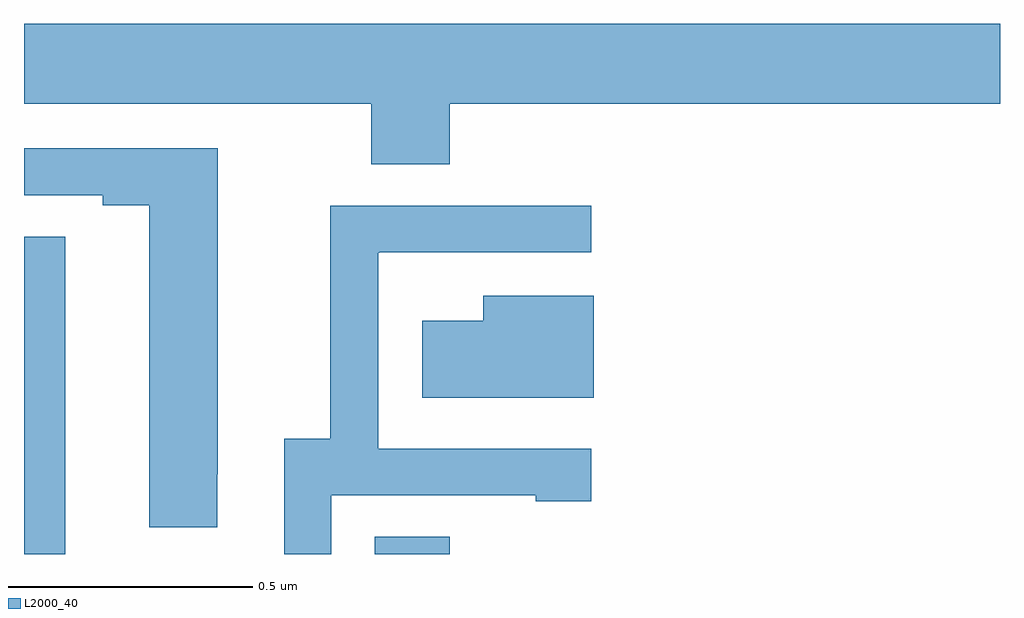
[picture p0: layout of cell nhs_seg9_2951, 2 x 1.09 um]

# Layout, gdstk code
import gdstk
lib = gdstk.Library(unit=1e-6, precision=1e-09)
def R(c, l, rs):  # rectangles x0, y0, x1, y1
    for r in rs: c.add(gdstk.rectangle(r[:2], r[2:], *l))
def P(c, l, *ps):  # polygons
    for p in ps: c.add(gdstk.Polygon(p, *l))
L2000_40 = (2000, 40)

nhs_seg9_2951 = lib.new_cell('nhs_seg9_2951')
R(nhs_seg9_2951, L2000_40, [(147,1191.5,147.085,1192.151), (147.719,1191.5,147.872,1191.536)])
P(nhs_seg9_2951, L2000_40, [(147.872,1192.424),(149,1192.424),(149,1192.588),(147,1192.588),(147,1192.424),(147.712,1192.424),(147.712,1192.3),(147.872,1192.3)],
  [(147.396,1191.664),(147.397,1191.664),(147.397,1192.332),(147,1192.332),(147,1192.236),(147.161,1192.236),(147.161,1192.216),(147.257,1192.216),(147.257,1191.556),(147.396,1191.556)],
  [(147.63,1191.621),(148.049,1191.621),(148.049,1191.609),(148.162,1191.609),(148.162,1191.717),(147.726,1191.717),(147.726,1192.118),(147.728,1192.118),(147.728,1192.119),(148.162,1192.119),(148.162,1192.215),(147.628,1192.215),(147.628,1191.737),(147.533,1191.737),(147.533,1191.5),(147.63,1191.5)],
  [(148.168,1192.03),(147.941,1192.03),(147.941,1191.979),(147.816,1191.979),(147.816,1191.821),(148.168,1191.821)])

lib.write_gds('nhs_seg9_2951.gds')
